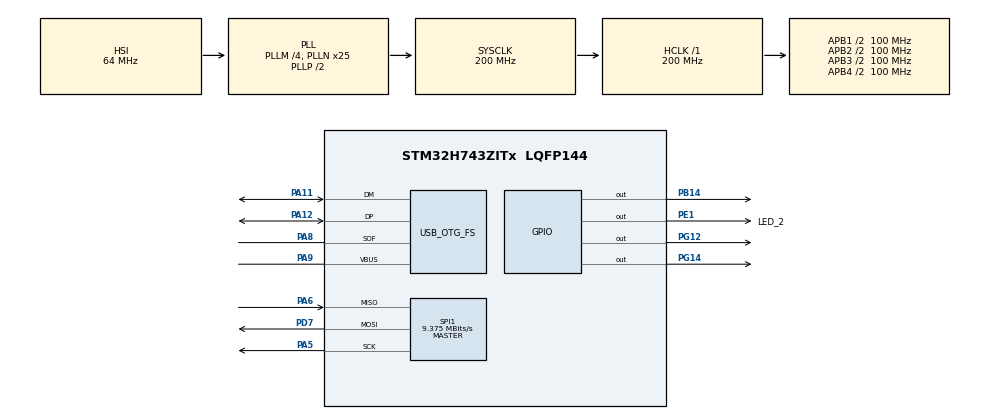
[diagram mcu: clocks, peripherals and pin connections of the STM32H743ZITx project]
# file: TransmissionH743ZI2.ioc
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CORTEX_M7.default_mode_Activation=1
Mcu.Family=STM32H7
Mcu.Name=STM32H743ZITx
Mcu.Package=LQFP144
NVIC.OTG_FS_IRQn=true\:0\:0\:false\:false\:true\:false\:true\:true
NVIC.PriorityGroup=NVIC_PRIORITYGROUP_4
PA11.Mode=Device_Only
PA11.Signal=USB_OTG_FS_DM
PA12.Mode=Device_Only
PA12.Signal=USB_OTG_FS_DP
PA5.Mode=Full_Duplex_Master
PA5.Signal=SPI1_SCK
PA6.Mode=Full_Duplex_Master
PA6.Signal=SPI1_MISO
PA8.Mode=Activate_SOF_FS
PA8.Signal=USB_OTG_FS_SOF
PA9.Mode=Activate_VBUS
PA9.Signal=USB_OTG_FS_VBUS
PB14.Signal=GPIO_Output
PC14-OSC32_IN\ (OSC32_IN).Mode=LSE-External-Oscillator
PC14-OSC32_IN\ (OSC32_IN).Signal=RCC_OSC32_IN
PC15-OSC32_OUT\ (OSC32_OUT).Mode=LSE-External-Oscillator
PC15-OSC32_OUT\ (OSC32_OUT).Signal=RCC_OSC32_OUT
PD7.Mode=Full_Duplex_Master
PD7.Signal=SPI1_MOSI
PE1.GPIO_Label=LED_2
PE1.Signal=GPIO_Output
PG12.Signal=GPIO_Output
PG14.Signal=GPIO_Output
PH0-OSC_IN\ (PH0).Mode=HSE-External-Clock-Source
PH0-OSC_IN\ (PH0).Signal=RCC_OSC_IN
ProjectManager.HeapSize=0x200
ProjectManager.StackSize=0x400
ProjectManager.TargetToolchain=STM32CubeIDE
RCC.ADCFreq_Value=75000000
RCC.APB1Freq_Value=100000000
RCC.APB2Freq_Value=100000000
RCC.APB3Freq_Value=100000000
RCC.APB4Freq_Value=100000000
RCC.CortexFreq_Value=200000000
RCC.D1PPRE=RCC_APB3_DIV2
RCC.D2PPRE1=RCC_APB1_DIV2
RCC.D2PPRE2=RCC_APB2_DIV2
RCC.D3PPRE=RCC_APB4_DIV2
RCC.DIVM1=4
RCC.DIVM2=4
RCC.DIVN1=25
RCC.DIVN2=9
RCC.DIVQ1=5
RCC.HCLKFreq_Value=200000000
RCC.PLL2FRACN=3072
RCC.PLL3FRACN=0
RCC.PLLFRACN=0
RCC.SPI123CLockSelection=RCC_SPI123CLKSOURCE_PLL2
RCC.SYSCLKFreq_VALUE=200000000
RCC.SYSCLKSource=RCC_SYSCLKSOURCE_PLLCLK
RCC.USBCLockSelection=RCC_USBCLKSOURCE_HSI48
RCC.USBFreq_Value=48000000
SPI1.BaudRatePrescaler=SPI_BAUDRATEPRESCALER_8
SPI1.CalculateBaudRate=9.375 MBits/s
SPI1.DataSize=SPI_DATASIZE_8BIT
SPI1.Direction=SPI_DIRECTION_2LINES
SPI1.Mode=SPI_MODE_MASTER
SPI1.VirtualType=VM_MASTER
USB_DEVICE.CLASS_NAME_FS=CDC
USB_DEVICE.VirtualMode-CDC_FS=Cdc
USB_DEVICE.VirtualModeFS=Cdc_FS
USB_OTG_FS.VirtualMode=Device_Only
VP_USB_DEVICE_VS_USB_DEVICE_CDC_FS.Mode=CDC_FS
board=custom

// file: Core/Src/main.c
/* USER CODE BEGIN Header */
/**
  ******************************************************************************
  * @file           : main.c
  * @brief          : Main program body
  ******************************************************************************
  * @attention
  *
  * Copyright (c) 2024 STMicroelectronics.
  * All rights reserved.
  *
  * This software is licensed under terms that can be found in the LICENSE file
  * in the root directory of this software component.
  * If no LICENSE file comes with this software, it is provided AS-IS.
  *
  ******************************************************************************
  */
/* USER CODE END Header */
#include "main.h"
#include "usb_device.h"

/* USER CODE BEGIN Includes */
#include "nrf24l01.h"
#include "usbd_cdc_if.h"
/* USER CODE END Includes */

SPI_HandleTypeDef hspi1;

void SystemClock_Config(void);
static void MPU_Config(void);
static void MX_GPIO_Init(void);
static void MX_SPI1_Init(void);

/* USER CODE BEGIN 0 */
uint8_t TxAdress0[] = {1,2,3,4,5}; // Endereços de envio
int TxData[6]={111,0,0,0,0,112}; //Dados a serem transferidos
uint8_t RxData[1];//Dados a serem recebidos(Descontinuar)
int vet_senhas[6]= {111,112,113,114,115,116}; //Vetor de senhas dos robos

//inicializar modo de transmissao

/*
 * Troca de modo do NRF24L01 para modo de transmissão
 * Parâmetros:
 * Endereço de transmissão
 */
void Tx_mode(uint8_t Adress[5]){

	if(NRF_Init(&hspi1, GPIOG, GPIO_PIN_12, GPIOG, GPIO_PIN_14) != NRF_OK){
		Error_Handler();
	}

	NRF_Reset();
	NRF_WriteRegister(NRF_REG_TX_ADDR,Adress,5);
	//Para enviar a mensagem usar função transmitandwait
	NRF_WriteRegister(NRF_REG_RX_ADDR_P0, Adress, 5);
}

/*
 * Função para mudar o canal de comunicação
 * Parâmetros: Robô alvo
 */
void changeChannel(uint8_t n){
	NRF_EnterMode(NRF_MODE_STANDBY1);
	if(n==0){
		NRF_WriteRegisterByte(NRF_REG_RF_CH,0x03); //Canal 3
	}
	if(n==1){
		NRF_WriteRegisterByte(NRF_REG_RF_CH,0x05); //Canal 4
	}
	if(n==2){
		NRF_WriteRegisterByte(NRF_REG_RF_CH,0x07); //Canal 5
	}
	NRF_EnterMode(NRF_MODE_TX);
}

/*
 * Função para precebimento de dados
 * Parâmetros:
 * Ponteiro para variavel on serão salvo os dados
 * Tamanho em bytes dos dados
 */
NRF_Status ReceiveData (uint8_t *data, uint32_t len){
	NRF_Status ret = NRF_ERROR;
	uint8_t status = NRF_ReadStatus();
	uint8_t STATUS_REGISTER_RX_DR_BIT = 6;
	if(status & (1<<STATUS_REGISTER_RX_DR_BIT)){
		NRF_ReadPayload(data,len);
		ret = NRF_OK;
		NRF_SetRegisterBit(NRF_REG_STATUS, 6);
	} else {
		ret = NRF_ERROR;
	}
	return ret;
}

/* USER CODE END 0 */

int main(void)
{

  /* MPU Configuration--------------------------------------------------------*/
  MPU_Config();

  /* MCU Configuration--------------------------------------------------------*/

  /* Reset of all peripherals, Initializes the Flash interface and the Systick. */
  HAL_Init();

  /* Configure the system clock */
  SystemClock_Config();

  /* Initialize all configured peripherals */
  MX_GPIO_Init();
  MX_USB_DEVICE_Init();
  MX_SPI1_Init();
  /* USER CODE BEGIN 2 */
  Tx_mode(TxAdress0); //Inicializar NRF em modo Transmissão com endereço

  NRF_Status ret = NRF_OK;
  /* USER CODE END 2 */

  /* Infinite loop */
  /* USER CODE BEGIN WHILE */
  //Vetor de caracteres para utilizar no serial (com objetivo de obtenção de dados dos motores)
  char message[100] = {'\0'};

  int Valores[12] = {0,0,0,0,0,0,0,0,0,0,0,0};//Vator de recebimento do python ((vel)*4Rodas)*3Robos
  int Returns[9]={0,0,0,0,0,0,0,0,0}; //Vetor para retorno para o python
  uint32_t acumulador[3] = {0,0,0}; //utilizado para o calculo de latência
  while (1)
  {
	  /*
	   * Transmissão e recepção do python
	   */
	  CDC_Receive_FS(Valores,sizeof(Valores));
	  sprintf(message, "oi %d %d %d %d %d %d %d %d %d\n",Valores[0],Returns[1],Returns[2],Returns[3],Returns[4],Returns[5],Returns[6],Returns[7],Returns[8],Returns[9]);
	  CDC_Transmit_FS(message,sizeof(message));

	  //Loop entre Robos
	  for(uint8_t i=0; i<3;i++){
		  changeChannel(i); //Troca o canal para o  do robo especifico
		  //Salva a variável para envio em sua respectiva posição no vetor de envio
		  for(uint8_t n=0; n<4;n++){
	  		 TxData[n+1] = Valores[n+4*i];
	  		}
		  TxData[0] = vet_senhas[i*2]; //Senha do robô especifico
		  TxData[5] = vet_senhas[1+i*2];//Senha do robô especifico

		  uint32_t Start = HAL_GetTick(); //Tempo de início de transmissão
		  ret = NRF_TransmitAndWait(TxData, sizeof(TxData)); //Transmissão da mensagem
		  uint32_t End = HAL_GetTick(); //Tempo de fim de transmissão
		  acumulador[i]+= End - Start; //Acumulador de tempo de latência
		  uint8_t ploss = NRF_ReadPacketLoss();//Leitura da perda de pacotes
		  Returns[i+3] = acumulador[i]; //Salvamento de tempo acumulado no vetor de retorno ao python
		  if(ret == NRF_OK){
			  //Pino de confirmação
			  HAL_GPIO_TogglePin(GPIOB, GPIO_PIN_14);
			  int retorno = 0;//Gambiarra - Retirar
			  Returns[i] = retorno;//Gambiarra - Retirar
			  Returns[i+6] = ploss;
			  acumulador[i] = 0;

	  	}else if(ret == NRF_MAX_RT) { //Numero máximo de retransmissões
	  		  HAL_GPIO_TogglePin(GPIOE, GPIO_PIN_1);

	  	 } else { //Sucesso - Necessario deixar função de transmissão mais robusta( Timeout e retorno de erro)
	  		 HAL_GPIO_TogglePin(GPIOB, GPIO_PIN_0);
	  	 }
	  }

    /* USER CODE END WHILE */

  }
}

void SystemClock_Config(void)
{
  RCC_OscInitTypeDef RCC_OscInitStruct = {0};
  RCC_ClkInitTypeDef RCC_ClkInitStruct = {0};

  /** Supply configuration update enable
  */
  HAL_PWREx_ConfigSupply(PWR_LDO_SUPPLY);

  /** Configure the main internal regulator output voltage
  */
  __HAL_PWR_VOLTAGESCALING_CONFIG(PWR_REGULATOR_VOLTAGE_SCALE3);

  while(!__HAL_PWR_GET_FLAG(PWR_FLAG_VOSRDY)) {}

  /** Initializes the RCC Oscillators according to the specified parameters
  * in the RCC_OscInitTypeDef structure.
  */
  RCC_OscInitStruct.OscillatorType = RCC_OSCILLATORTYPE_HSI48|RCC_OSCILLATORTYPE_HSI;
  RCC_OscInitStruct.HSIState = RCC_HSI_DIV1;
  RCC_OscInitStruct.HSICalibrationValue = RCC_HSICALIBRATION_DEFAULT;
  RCC_OscInitStruct.HSI48State = RCC_HSI48_ON;
  RCC_OscInitStruct.PLL.PLLState = RCC_PLL_ON;
  RCC_OscInitStruct.PLL.PLLSource = RCC_PLLSOURCE_HSI;
  RCC_OscInitStruct.PLL.PLLM = 4;
  RCC_OscInitStruct.PLL.PLLN = 25;
  RCC_OscInitStruct.PLL.PLLP = 2;
  RCC_OscInitStruct.PLL.PLLQ = 5;
  RCC_OscInitStruct.PLL.PLLR = 2;
  RCC_OscInitStruct.PLL.PLLRGE = RCC_PLL1VCIRANGE_3;
  RCC_OscInitStruct.PLL.PLLVCOSEL = RCC_PLL1VCOWIDE;
  RCC_OscInitStruct.PLL.PLLFRACN = 0;
  if (HAL_RCC_OscConfig(&RCC_OscInitStruct) != HAL_OK)
  {
    Error_Handler();
  }

  /** Initializes the CPU, AHB and APB buses clocks
  */
  RCC_ClkInitStruct.ClockType = RCC_CLOCKTYPE_HCLK|RCC_CLOCKTYPE_SYSCLK
                              |RCC_CLOCKTYPE_PCLK1|RCC_CLOCKTYPE_PCLK2
                              |RCC_CLOCKTYPE_D3PCLK1|RCC_CLOCKTYPE_D1PCLK1;
  RCC_ClkInitStruct.SYSCLKSource = RCC_SYSCLKSOURCE_PLLCLK;
  RCC_ClkInitStruct.SYSCLKDivider = RCC_SYSCLK_DIV1;
  RCC_ClkInitStruct.AHBCLKDivider = RCC_HCLK_DIV1;
  RCC_ClkInitStruct.APB3CLKDivider = RCC_APB3_DIV2;
  RCC_ClkInitStruct.APB1CLKDivider = RCC_APB1_DIV2;
  RCC_ClkInitStruct.APB2CLKDivider = RCC_APB2_DIV2;
  RCC_ClkInitStruct.APB4CLKDivider = RCC_APB4_DIV2;

  if (HAL_RCC_ClockConfig(&RCC_ClkInitStruct, FLASH_LATENCY_4) != HAL_OK)
  {
    Error_Handler();
  }
}

static void MX_SPI1_Init(void)
{

  /* SPI1 parameter configuration*/
  hspi1.Instance = SPI1;
  hspi1.Init.Mode = SPI_MODE_MASTER;
  hspi1.Init.Direction = SPI_DIRECTION_2LINES;
  hspi1.Init.DataSize = SPI_DATASIZE_8BIT;
  hspi1.Init.CLKPolarity = SPI_POLARITY_LOW;
  hspi1.Init.CLKPhase = SPI_PHASE_1EDGE;
  hspi1.Init.NSS = SPI_NSS_SOFT;
  hspi1.Init.BaudRatePrescaler = SPI_BAUDRATEPRESCALER_8;
  hspi1.Init.FirstBit = SPI_FIRSTBIT_MSB;
  hspi1.Init.TIMode = SPI_TIMODE_DISABLE;
  hspi1.Init.CRCCalculation = SPI_CRCCALCULATION_DISABLE;
  hspi1.Init.CRCPolynomial = 0x0;
  hspi1.Init.NSSPMode = SPI_NSS_PULSE_ENABLE;
  hspi1.Init.NSSPolarity = SPI_NSS_POLARITY_LOW;
  hspi1.Init.FifoThreshold = SPI_FIFO_THRESHOLD_01DATA;
  hspi1.Init.TxCRCInitializationPattern = SPI_CRC_INITIALIZATION_ALL_ZERO_PATTERN;
  hspi1.Init.RxCRCInitializationPattern = SPI_CRC_INITIALIZATION_ALL_ZERO_PATTERN;
  hspi1.Init.MasterSSIdleness = SPI_MASTER_SS_IDLENESS_00CYCLE;
  hspi1.Init.MasterInterDataIdleness = SPI_MASTER_INTERDATA_IDLENESS_00CYCLE;
  hspi1.Init.MasterReceiverAutoSusp = SPI_MASTER_RX_AUTOSUSP_DISABLE;
  hspi1.Init.MasterKeepIOState = SPI_MASTER_KEEP_IO_STATE_DISABLE;
  hspi1.Init.IOSwap = SPI_IO_SWAP_DISABLE;
  if (HAL_SPI_Init(&hspi1) != HAL_OK)
  {
    Error_Handler();
  }

}

static void MX_GPIO_Init(void)
{
  GPIO_InitTypeDef GPIO_InitStruct = {0};

  /* GPIO Ports Clock Enable */
  __HAL_RCC_GPIOC_CLK_ENABLE();
  __HAL_RCC_GPIOH_CLK_ENABLE();
  __HAL_RCC_GPIOA_CLK_ENABLE();
  __HAL_RCC_GPIOB_CLK_ENABLE();
  __HAL_RCC_GPIOD_CLK_ENABLE();
  __HAL_RCC_GPIOG_CLK_ENABLE();
  __HAL_RCC_GPIOE_CLK_ENABLE();

  /*Configure GPIO pin Output Level */
  HAL_GPIO_WritePin(GPIOB, GPIO_PIN_14, GPIO_PIN_RESET);

  /*Configure GPIO pin Output Level */
  HAL_GPIO_WritePin(GPIOG, GPIO_PIN_12|GPIO_PIN_14, GPIO_PIN_RESET);

  /*Configure GPIO pin Output Level */
  HAL_GPIO_WritePin(LED_2_GPIO_Port, LED_2_Pin, GPIO_PIN_RESET);

  /*Configure GPIO pin : PB14 */
  GPIO_InitStruct.Pin = GPIO_PIN_14;
  GPIO_InitStruct.Mode = GPIO_MODE_OUTPUT_PP;
  GPIO_InitStruct.Pull = GPIO_NOPULL;
  GPIO_InitStruct.Speed = GPIO_SPEED_FREQ_LOW;
  HAL_GPIO_Init(GPIOB, &GPIO_InitStruct);

  /*Configure GPIO pins : PG12 PG14 */
  GPIO_InitStruct.Pin = GPIO_PIN_12|GPIO_PIN_14;
  GPIO_InitStruct.Mode = GPIO_MODE_OUTPUT_PP;
  GPIO_InitStruct.Pull = GPIO_NOPULL;
  GPIO_InitStruct.Speed = GPIO_SPEED_FREQ_LOW;
  HAL_GPIO_Init(GPIOG, &GPIO_InitStruct);

  /*Configure GPIO pin : LED_2_Pin */
  GPIO_InitStruct.Pin = LED_2_Pin;
  GPIO_InitStruct.Mode = GPIO_MODE_OUTPUT_PP;
  GPIO_InitStruct.Pull = GPIO_NOPULL;
  GPIO_InitStruct.Speed = GPIO_SPEED_FREQ_LOW;
  HAL_GPIO_Init(LED_2_GPIO_Port, &GPIO_InitStruct);

}

 /* MPU Configuration */

void MPU_Config(void)
{
  MPU_Region_InitTypeDef MPU_InitStruct = {0};

  /* Disables the MPU */
  HAL_MPU_Disable();

  /** Initializes and configures the Region and the memory to be protected
  */
  MPU_InitStruct.Enable = MPU_REGION_ENABLE;
  MPU_InitStruct.Number = MPU_REGION_NUMBER0;
  MPU_InitStruct.BaseAddress = 0x0;
  MPU_InitStruct.Size = MPU_REGION_SIZE_4GB;
  MPU_InitStruct.SubRegionDisable = 0x87;
  MPU_InitStruct.TypeExtField = MPU_TEX_LEVEL0;
  MPU_InitStruct.AccessPermission = MPU_REGION_NO_ACCESS;
  MPU_InitStruct.DisableExec = MPU_INSTRUCTION_ACCESS_DISABLE;
  MPU_InitStruct.IsShareable = MPU_ACCESS_SHAREABLE;
  MPU_InitStruct.IsCacheable = MPU_ACCESS_NOT_CACHEABLE;
  MPU_InitStruct.IsBufferable = MPU_ACCESS_NOT_BUFFERABLE;

  HAL_MPU_ConfigRegion(&MPU_InitStruct);
  /* Enables the MPU */
  HAL_MPU_Enable(MPU_PRIVILEGED_DEFAULT);

}

void Error_Handler(void)
{
  __disable_irq();
  while (1)
  {
  }
}
